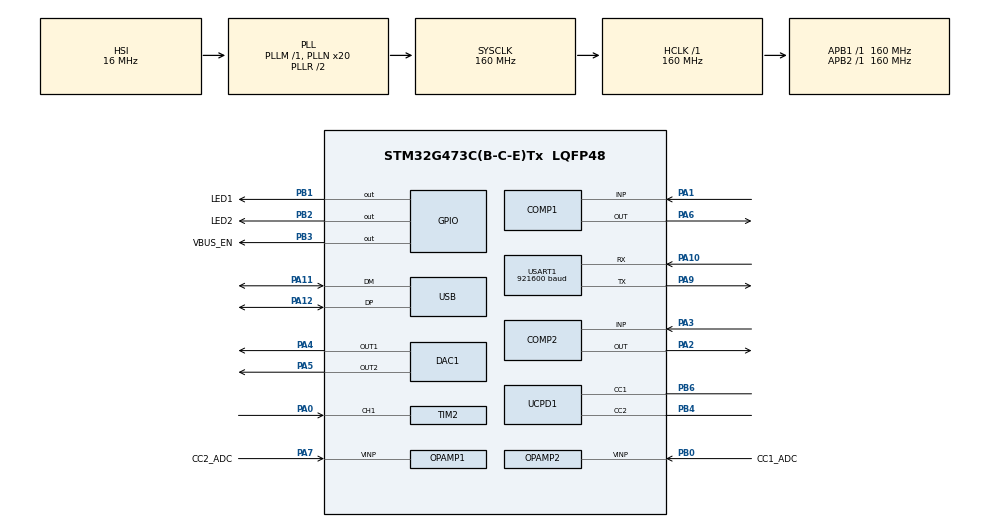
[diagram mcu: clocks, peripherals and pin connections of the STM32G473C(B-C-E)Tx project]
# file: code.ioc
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ADC1.Channel-5\#ChannelRegularConversion=ADC_CHANNEL_VOPAMP1
ADC1.ContinuousConvMode=ENABLE
ADC1.DMAContinuousRequests=ENABLE
ADC1.NbrOfConversionFlag=1
ADC1.OffsetNumber-5\#ChannelRegularConversion=ADC_OFFSET_NONE
ADC1.Rank-5\#ChannelRegularConversion=1
ADC1.SamplingTime-5\#ChannelRegularConversion=ADC_SAMPLETIME_12CYCLES_5
ADC1.master=1
ADC2.Channel-2\#ChannelRegularConversion=ADC_CHANNEL_VOPAMP2
ADC2.ClockPrescaler=ADC_CLOCK_SYNC_PCLK_DIV4
ADC2.ContinuousConvMode=ENABLE
ADC2.DMAContinuousRequests=ENABLE
ADC2.NbrOfConversionFlag=1
ADC2.OffsetNumber-2\#ChannelRegularConversion=ADC_OFFSET_NONE
ADC2.Rank-2\#ChannelRegularConversion=1
ADC2.SamplingTime-2\#ChannelRegularConversion=ADC_SAMPLETIME_12CYCLES_5
COMP1.BlankingSrce=COMP_BLANKINGSRC_NONE
COMP1.OutputPol=COMP_OUTPUTPOL_NONINVERTED
COMP1.TriggerMode=COMP_TRIGGERMODE_IT_FALLING
COMP2.TriggerMode=COMP_TRIGGERMODE_IT_FALLING
DAC1.DAC_Channel-DAC_OUT2_ExtAndInt=DAC_CHANNEL_2
Dma.ADC1.1.Direction=DMA_PERIPH_TO_MEMORY
Dma.ADC1.1.EventEnable=DISABLE
Dma.ADC1.1.Instance=DMA1_Channel1
Dma.ADC1.1.MemDataAlignment=DMA_MDATAALIGN_HALFWORD
Dma.ADC1.1.MemInc=DMA_MINC_ENABLE
Dma.ADC1.1.Mode=DMA_CIRCULAR
Dma.ADC1.1.PeriphDataAlignment=DMA_PDATAALIGN_HALFWORD
Dma.ADC1.1.PeriphInc=DMA_PINC_DISABLE
Dma.ADC1.1.Polarity=HAL_DMAMUX_REQ_GEN_RISING
Dma.ADC1.1.Priority=DMA_PRIORITY_LOW
Dma.ADC1.1.RequestNumber=1
Dma.ADC1.1.SignalID=NONE
Dma.ADC1.1.SyncEnable=DISABLE
Dma.ADC1.1.SyncPolarity=HAL_DMAMUX_SYNC_NO_EVENT
Dma.ADC1.1.SyncRequestNumber=1
Dma.ADC1.1.SyncSignalID=NONE
Dma.ADC2.2.Direction=DMA_PERIPH_TO_MEMORY
Dma.ADC2.2.EventEnable=DISABLE
Dma.ADC2.2.Instance=DMA1_Channel3
Dma.ADC2.2.MemDataAlignment=DMA_MDATAALIGN_HALFWORD
Dma.ADC2.2.MemInc=DMA_MINC_ENABLE
Dma.ADC2.2.Mode=DMA_CIRCULAR
Dma.ADC2.2.PeriphDataAlignment=DMA_PDATAALIGN_HALFWORD
Dma.ADC2.2.PeriphInc=DMA_PINC_DISABLE
Dma.ADC2.2.Polarity=HAL_DMAMUX_REQ_GEN_RISING
Dma.ADC2.2.Priority=DMA_PRIORITY_LOW
Dma.ADC2.2.RequestNumber=1
Dma.ADC2.2.SignalID=NONE
Dma.ADC2.2.SyncEnable=DISABLE
Dma.ADC2.2.SyncPolarity=HAL_DMAMUX_SYNC_NO_EVENT
Dma.ADC2.2.SyncRequestNumber=1
Dma.ADC2.2.SyncSignalID=NONE
Dma.Request0=TIM2_CH1
Dma.Request1=ADC1
Dma.Request2=ADC2
Dma.TIM2_CH1.0.Direction=DMA_PERIPH_TO_MEMORY
Dma.TIM2_CH1.0.EventEnable=DISABLE
Dma.TIM2_CH1.0.Instance=DMA1_Channel2
Dma.TIM2_CH1.0.MemDataAlignment=DMA_MDATAALIGN_BYTE
Dma.TIM2_CH1.0.MemInc=DMA_MINC_ENABLE
Dma.TIM2_CH1.0.Mode=DMA_NORMAL
Dma.TIM2_CH1.0.PeriphDataAlignment=DMA_PDATAALIGN_BYTE
Dma.TIM2_CH1.0.PeriphInc=DMA_PINC_DISABLE
Dma.TIM2_CH1.0.Polarity=HAL_DMAMUX_REQ_GEN_RISING
Dma.TIM2_CH1.0.Priority=DMA_PRIORITY_HIGH
Dma.TIM2_CH1.0.RequestNumber=1
Dma.TIM2_CH1.0.SignalID=NONE
Dma.TIM2_CH1.0.SyncEnable=DISABLE
Dma.TIM2_CH1.0.SyncPolarity=HAL_DMAMUX_SYNC_NO_EVENT
Dma.TIM2_CH1.0.SyncRequestNumber=1
Dma.TIM2_CH1.0.SyncSignalID=NONE
FREERTOS.Queues01=TimeIndexQueue,8,uint8_t,0,Dynamic,NULL,NULL
FREERTOS.Tasks01=LedTask,24,128,StartLedTask,Default,NULL,Dynamic,NULL,NULL;PDTask,32,4096,StartTaskPD,Default,NULL,Dynamic,NULL,NULL;CCTask,33,256,StartTaskCC,Default,NULL,Dynamic,NULL,NULL
FREERTOS.configCHECK_FOR_STACK_OVERFLOW=2
FREERTOS.configTOTAL_HEAP_SIZE=20480
FREERTOS.configUSE_MALLOC_FAILED_HOOK=1
Mcu.Family=STM32G4
Mcu.Name=STM32G473C(B-C-E)Tx
Mcu.Package=LQFP48
NVIC.COMP1_2_3_IRQn=true\:5\:0\:false\:false\:true\:true\:false\:true\:true
NVIC.PriorityGroup=NVIC_PRIORITYGROUP_4
NVIC.TIM2_IRQn=true\:5\:0\:false\:false\:true\:true\:true\:true\:true
NVIC.TIM6_DAC_IRQn=true\:15\:0\:false\:false\:true\:false\:false\:true\:true
NVIC.TimeBase=TIM6_DAC_IRQn
NVIC.TimeBaseIP=TIM6
NVIC.USB_LP_IRQn=true\:5\:0\:false\:false\:true\:true\:true\:true\:true
PA0.Signal=S_TIM2_CH1
PA1.Mode=INP
PA1.Signal=COMP1_INP
PA10.Mode=Asynchronous
PA10.Signal=USART1_RX
PA11.Mode=Device
PA11.Signal=USB_DM
PA12.Mode=Device
PA12.Signal=USB_DP
PA13.Mode=Serial_Wire
PA13.Signal=SYS_JTMS-SWDIO
PA14.Mode=Serial_Wire
PA14.Signal=SYS_JTCK-SWCLK
PA2.Mode=ExternalOutput
PA2.Signal=COMP2_OUT
PA3.Mode=INP
PA3.Signal=COMP2_INP
PA4.Signal=COMP_DAC11_group
PA5.Signal=COMP_DAC12_group
PA6.Mode=ExternalOutput
PA6.Signal=COMP1_OUT
PA7.GPIO_Label=CC2_ADC
PA7.Signal=SharedAnalog_PA7
PA9.Mode=Asynchronous
PA9.Signal=USART1_TX
PB0.GPIO_Label=CC1_ADC
PB0.Signal=SharedAnalog_PB0
PB1.GPIO_Label=LED1
PB1.PinState=GPIO_PIN_SET
PB1.Signal=GPIO_Output
PB2.GPIO_Label=LED2
PB2.PinState=GPIO_PIN_SET
PB2.Signal=GPIO_Output
PB3.GPIO_Label=VBUS_EN
PB3.Signal=GPIO_Output
PB4.Mode=Dual_Role_AllSignals
PB4.Signal=UCPD1_CC2
PB6.Mode=Dual_Role_AllSignals
PB6.Signal=UCPD1_CC1
ProjectManager.HeapSize=0x200
ProjectManager.StackSize=0x400
ProjectManager.TargetToolchain=MDK-ARM V5.32
RCC.ADC12Freq_Value=160000000
RCC.ADC345Freq_Value=160000000
RCC.AHBFreq_Value=160000000
RCC.APB1Freq_Value=160000000
RCC.APB1TimFreq_Value=160000000
RCC.APB2Freq_Value=160000000
RCC.APB2TimFreq_Value=160000000
RCC.CK48CLockSelection=RCC_USBCLKSOURCE_HSI48
RCC.CortexFreq_Value=160000000
RCC.EXTERNAL_CLOCK_VALUE=12288000
RCC.HCLKFreq_Value=160000000
RCC.HSE_VALUE=8000000
RCC.HSI48_VALUE=48000000
RCC.HSI_VALUE=16000000
RCC.LSE_VALUE=32768
RCC.PLLN=20
RCC.PLLQ=RCC_PLLQ_DIV4
RCC.SYSCLKFreq_VALUE=160000000
RCC.SYSCLKSource=RCC_SYSCLKSOURCE_PLLCLK
RCC.USBFreq_Value=48000000
RCC.VCOOutputFreq_Value=320000000
SH.COMP_DAC11_group.0=DAC1_OUT1,DAC_OUT1_ExtAndInt
SH.COMP_DAC12_group.0=DAC1_OUT2,DAC_OUT2_ExtAndInt
SH.S_TIM2_CH1.0=TIM2_CH1,TriggerSource_TI1ED
SH.SharedAnalog_PA7.0=ADC2_IN4
SH.SharedAnalog_PA7.1=OPAMP1_VINP,Follower_Internally_Connected
SH.SharedAnalog_PB0.0=ADC1_IN15
SH.SharedAnalog_PB0.1=OPAMP2_VINP,Follower_Internally_Connected
TIM2.AutoReloadPreload=TIM_AUTORELOAD_PRELOAD_ENABLE
TIM2.Channel-Input_Capture1_from_TI1_REMAP_TIM2=TIM_CHANNEL_1
TIM2.ICFilter_CH1=1
TIM2.ICPolarity_CH1=TIM_INPUTCHANNELPOLARITY_BOTHEDGE
TIM2.PeriodNoDither=800
TIM2.Prescaler=8 - 1
USART1.BaudRate=921600
USART1.VirtualMode-Asynchronous=VM_ASYNC
VP_ADC1_OPAMP_INTERNAL1.Mode=IN-OPAMP1
VP_ADC2_OPAMP_INTERNAL2.Mode=IN-OPAMP2
VP_COMP1_VS_DAC1OUT1.Mode=INM_DAC1OUT1
VP_COMP2_VS_DAC1OUT2.Mode=INM_DAC1OUT2
VP_FREERTOS_VS_CMSIS_V2.Mode=CMSIS_V2
VP_SYS_VS_DBSignals.Mode=DisableDeadBatterySignals
VP_SYS_VS_tim6.Mode=TIM6
VP_TIM2_VS_ControllerModeReset.Mode=Reset Mode
VP_TIM2_VS_NoInput1.Mode=Input_Capture1_from_TI1_REMAP_TIM2
board=custom

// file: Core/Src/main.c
/* USER CODE BEGIN Header */
/**
  ******************************************************************************
  * @file           : main.c
  * @brief          : Main program body
  ******************************************************************************
  * @attention
  *
  * Copyright (c) 2025 STMicroelectronics.
  * All rights reserved.
  *
  * This software is licensed under terms that can be found in the LICENSE file
  * in the root directory of this software component.
  * If no LICENSE file comes with this software, it is provided AS-IS.
  *
  ******************************************************************************
  */
/* USER CODE END Header */
#include "main.h"
#include "cmsis_os.h"
#include "adc.h"
#include "comp.h"
#include "dac.h"
#include "dma.h"
#include "opamp.h"
#include "tim.h"
#include "usart.h"
#include "usb.h"
#include "gpio.h"

void SystemClock_Config(void);
void MX_FREERTOS_Init(void);

int main(void)
{

  /* MCU Configuration--------------------------------------------------------*/

  /* Reset of all peripherals, Initializes the Flash interface and the Systick. */
  HAL_Init();

  /* Configure the system clock */
  SystemClock_Config();

  /* Initialize all configured peripherals */
  MX_GPIO_Init();
  MX_DMA_Init();
  MX_ADC1_Init();
  MX_COMP1_Init();
  MX_COMP2_Init();
  MX_TIM2_Init();
  MX_USART1_UART_Init();
  //MX_USB_PCD_Init();
  MX_ADC2_Init();
  MX_DAC1_Init();
  MX_OPAMP1_Init();
  MX_OPAMP2_Init();
  /* USER CODE BEGIN 2 */
  extern void winusb_init(uint8_t busid, uintptr_t reg_base);
  winusb_init(0, USB_BASE);

  printf("**** start run code ****\r\n");
  /* USER CODE END 2 */

  /* Init scheduler */
  osKernelInitialize();

  /* Call init function for freertos objects (in cmsis_os2.c) */
  MX_FREERTOS_Init();

  /* Start scheduler */
  osKernelStart();

  /* We should never get here as control is now taken by the scheduler */

  /* Infinite loop */
  while (1)
  {

  }
}

void SystemClock_Config(void)
{
  RCC_OscInitTypeDef RCC_OscInitStruct = {0};
  RCC_ClkInitTypeDef RCC_ClkInitStruct = {0};

  /** Configure the main internal regulator output voltage
  */
  HAL_PWREx_ControlVoltageScaling(PWR_REGULATOR_VOLTAGE_SCALE1_BOOST);

  /** Initializes the RCC Oscillators according to the specified parameters
  * in the RCC_OscInitTypeDef structure.
  */
  RCC_OscInitStruct.OscillatorType = RCC_OSCILLATORTYPE_HSI|RCC_OSCILLATORTYPE_HSI48;
  RCC_OscInitStruct.HSIState = RCC_HSI_ON;
  RCC_OscInitStruct.HSICalibrationValue = RCC_HSICALIBRATION_DEFAULT;
  RCC_OscInitStruct.HSI48State = RCC_HSI48_ON;
  RCC_OscInitStruct.PLL.PLLState = RCC_PLL_ON;
  RCC_OscInitStruct.PLL.PLLSource = RCC_PLLSOURCE_HSI;
  RCC_OscInitStruct.PLL.PLLM = RCC_PLLM_DIV1;
  RCC_OscInitStruct.PLL.PLLN = 20;
  RCC_OscInitStruct.PLL.PLLP = RCC_PLLP_DIV2;
  RCC_OscInitStruct.PLL.PLLQ = RCC_PLLQ_DIV4;
  RCC_OscInitStruct.PLL.PLLR = RCC_PLLR_DIV2;
  if (HAL_RCC_OscConfig(&RCC_OscInitStruct) != HAL_OK)
  {
    Error_Handler();
  }

  /** Initializes the CPU, AHB and APB buses clocks
  */
  RCC_ClkInitStruct.ClockType = RCC_CLOCKTYPE_HCLK|RCC_CLOCKTYPE_SYSCLK
                              |RCC_CLOCKTYPE_PCLK1|RCC_CLOCKTYPE_PCLK2;
  RCC_ClkInitStruct.SYSCLKSource = RCC_SYSCLKSOURCE_PLLCLK;
  RCC_ClkInitStruct.AHBCLKDivider = RCC_SYSCLK_DIV1;
  RCC_ClkInitStruct.APB1CLKDivider = RCC_HCLK_DIV1;
  RCC_ClkInitStruct.APB2CLKDivider = RCC_HCLK_DIV1;

  if (HAL_RCC_ClockConfig(&RCC_ClkInitStruct, FLASH_LATENCY_4) != HAL_OK)
  {
    Error_Handler();
  }
}

/* USER CODE BEGIN 4 */
extern void timer2_timeout_handle(void);
/* USER CODE END 4 */

void HAL_TIM_PeriodElapsedCallback(TIM_HandleTypeDef *htim)
{
  if (htim->Instance == TIM6)
  {
    HAL_IncTick();
  }
  /* USER CODE BEGIN Callback 1 */
  if(htim->Instance == TIM2)
  {
    timer2_timeout_handle();
  }
  /* USER CODE END Callback 1 */
}

void Error_Handler(void)
{
  __disable_irq();
  while (1)
  {
  }
}

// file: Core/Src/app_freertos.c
/* USER CODE BEGIN Header */
/**
  ******************************************************************************
  * File Name          : app_freertos.c
  * Description        : Code for freertos applications
  ******************************************************************************
  * @attention
  *
  * Copyright (c) 2025 STMicroelectronics.
  * All rights reserved.
  *
  * This software is licensed under terms that can be found in the LICENSE file
  * in the root directory of this software component.
  * If no LICENSE file comes with this software, it is provided AS-IS.
  *
  ******************************************************************************
  */
/* USER CODE END Header */

#include "FreeRTOS.h"
#include "task.h"
#include "main.h"
#include "cmsis_os.h"

/* USER CODE BEGIN Includes */
#include <string.h>
#include "usart.h"
#include "adc.h"
#include "comp.h"
#include "tim.h"
#include "bmc_analyze.h"
/* USER CODE END Includes */

/* USER CODE BEGIN PTD */
#define CC_DEBOUNCE_ATTACH_TIME 100 // Debounce time in milliseconds
#define CC_DEBOUNCE_DETACH_TIME 10  // Debounce time in milliseconds
#define CC_MAX_ADC_VALUE 2500 // Maximum ADC value for CC detection
#define CC_MIN_ADC_VALUE 500  // Minimum ADC value for CC detection

enum cc_state{
    CC_IDLE,
    CC_ATTACH_WAIT,
    CC_ATTACH,
    CC_DETACH_WAIT,
    CC_DETACH,
} ;

typedef struct {
  uint8_t flag_cc_attach;
  uint16_t adc_cc; // ADC value for CC1
  uint32_t cc_debounce_time;
  enum cc_state state;
} cc_detect_t;

cc_detect_t cc_detect[2];
/* USER CODE END PTD */

/* Definitions for LedTask */
osThreadId_t LedTaskHandle;
const osThreadAttr_t LedTask_attributes = {
  .name = "LedTask",
  .priority = (osPriority_t) osPriorityNormal,
  .stack_size = 256 * 4
};
/* Definitions for PDTask */
osThreadId_t PDTaskHandle;
const osThreadAttr_t PDTask_attributes = {
  .name = "PDTask",
  .priority = (osPriority_t) osPriorityAboveNormal,
  .stack_size = 4096 * 4
};
/* Definitions for CCTask */
osThreadId_t CCTaskHandle;
const osThreadAttr_t CCTask_attributes = {
  .name = "CCTask",
  .priority = (osPriority_t) osPriorityAboveNormal1,
  .stack_size = 256 * 4
};
/* Definitions for TimeIndexQueue */
osMessageQueueId_t TimeIndexQueueHandle;
const osMessageQueueAttr_t TimeIndexQueue_attributes = {
  .name = "TimeIndexQueue"
};

/* USER CODE BEGIN FunctionPrototypes */
void handle_cc_attach(void);
void handle_cc_detach(void);
/* USER CODE END FunctionPrototypes */

void StartLedTask(void *argument);
void StartTaskPD(void *argument);
void StartTaskCC(void *argument);

void MX_FREERTOS_Init(void); /* (MISRA C 2004 rule 8.1) */

/* Hook prototypes */
void vApplicationStackOverflowHook(xTaskHandle xTask, signed char *pcTaskName);
void vApplicationMallocFailedHook(void);

/* USER CODE BEGIN 4 */
void vApplicationStackOverflowHook(xTaskHandle xTask, signed char *pcTaskName)
{
   /* Run time stack overflow checking is performed if
   configCHECK_FOR_STACK_OVERFLOW is defined to 1 or 2. This hook function is
   called if a stack overflow is detected. */

    printf(" Stack overflow detected in task: %s\r\n", pcTaskName);

    TaskStatus_t taskList[10];
    UBaseType_t taskCount = uxTaskGetSystemState(taskList, 10, NULL);

    for (int i = 0; i < taskCount; i++) {
        printf("Task: %s | Stack Free: %u\r\n",
               taskList[i].pcTaskName,
               taskList[i].usStackHighWaterMark);
    }

    taskDISABLE_INTERRUPTS();
    for(;;);
}
/* USER CODE END 4 */

/* USER CODE BEGIN 5 */
void vApplicationMallocFailedHook(void)
{
   /* vApplicationMallocFailedHook() will only be called if
   configUSE_MALLOC_FAILED_HOOK is set to 1 in FreeRTOSConfig.h. It is a hook
   function that will get called if a call to pvPortMalloc() fails.
   pvPortMalloc() is called internally by the kernel whenever a task, queue,
   timer or semaphore is created. It is also called by various parts of the
   demo application. If heap_1.c or heap_2.c are used, then the size of the
   heap available to pvPortMalloc() is defined by configTOTAL_HEAP_SIZE in
   FreeRTOSConfig.h, and the xPortGetFreeHeapSize() API function can be used
   to query the size of free heap space that remains (although it does not
   provide information on how the remaining heap might be fragmented). */
}
/* USER CODE END 5 */

void MX_FREERTOS_Init(void) {

  /* Create the queue(s) */
  /* creation of TimeIndexQueue */
  TimeIndexQueueHandle = osMessageQueueNew (8, sizeof(uint8_t), &TimeIndexQueue_attributes);

  /* Create the thread(s) */
  /* creation of LedTask */
  LedTaskHandle = osThreadNew(StartLedTask, NULL, &LedTask_attributes);

  /* creation of PDTask */
  PDTaskHandle = osThreadNew(StartTaskPD, NULL, &PDTask_attributes);

  /* creation of CCTask */
  CCTaskHandle = osThreadNew(StartTaskCC, NULL, &CCTask_attributes);

}

void StartLedTask(void *argument)
{
  /* USER CODE BEGIN StartLedTask */
    extern int usbd_cdc_write(const uint8_t *data, uint32_t data_len);
  /* Infinite loop */
  for(;;)
  {
    HAL_GPIO_WritePin(GPIOB, LED1_Pin, GPIO_PIN_RESET);
    osDelay(500); // Delay for 500 ms
    HAL_GPIO_WritePin(GPIOB, LED1_Pin, GPIO_PIN_SET);
    osDelay(500); // Delay for 500 ms

    TaskStatus_t taskList[10];
    UBaseType_t taskCount = uxTaskGetSystemState(taskList, 10, NULL);

//    for (int i = 0; i < taskCount; i++) {
//        printf("Task: %s | Stack Free: %u\r\n",
//               taskList[i].pcTaskName,
//               taskList[i].usStackHighWaterMark);
//    }
//    printf("\r\n");
  }
  /* USER CODE END StartLedTask */
}

void StartTaskPD(void *argument)
{
  /* USER CODE BEGIN StartTaskPD */

  uint8_t buffer_index;
  /* Infinite loop */
  for(;;)
  {
    osMessageQueueGet(TimeIndexQueueHandle, &buffer_index, NULL, portMAX_DELAY);

    uint8_t data_time[MAX_BUFFER_LEN];
    /* last data is invalid */
    uint16_t data_time_len = time2_data_len[buffer_index] - 2;
    if(data_time_len <= MAX_BUFFER_LEN)
    {
      memcpy(data_time, &time2_data_buffer[buffer_index][1], data_time_len);
      decode_bmc(buffer_index, data_time, data_time_len);
    }

//    if(buffer_index == MAX_BUFFER_INDEX - 1)
//    {
//        while(1);
//    }

    // printf("\r\n");
    // for(uint16_t i = 0; i < data_time_len; i++)
    // {
    //   printf("%d ", data_time[i]);
    // }
    // printf("\r\n");

  }
  /* USER CODE END StartTaskPD */
}

void StartTaskCC(void *argument)
{
  /* USER CODE BEGIN StartTaskCC */
  memset(cc_detect, 0, sizeof(cc_detect));

  /* Infinite loop */
  for(;;)
  {
    cc_detect[0].adc_cc = adc2_value * 2 * 3300 / 4096; // Convert ADC value to mV
    cc_detect[1].adc_cc = adc1_value * 2 * 3300 / 4096; // Convert ADC value to mV

    //printf(" %d  %d \r\n", cc_detect[0].adc_cc, cc_detect[1].adc_cc);
    for(uint8_t index = 0; index < 2; index++){

      switch(cc_detect[index].state)
      {
        case CC_IDLE:
        {
          cc_detect[index].flag_cc_attach = 0;
          if ((cc_detect[index].adc_cc <= CC_MAX_ADC_VALUE) && (cc_detect[index].adc_cc >= CC_MIN_ADC_VALUE)) {
            cc_detect[index].state = CC_ATTACH_WAIT;
            cc_detect[index].cc_debounce_time = osKernelGetTickCount();
          }
          break;
        }

        case CC_ATTACH_WAIT:
        {
          if ((cc_detect[index].adc_cc < CC_MIN_ADC_VALUE) || (cc_detect[index].adc_cc > CC_MAX_ADC_VALUE)) {
            cc_detect[index].state = CC_IDLE; // Back to idle if ADC is above threshold
          } else if ((osKernelGetTickCount() - cc_detect[index].cc_debounce_time) >= CC_DEBOUNCE_ATTACH_TIME) {
            cc_detect[index].flag_cc_attach = 1; // Set attach flag
            handle_cc_attach();
            cc_detect[index].state = CC_ATTACH; // Transition to attach state after debounce
          }
          break;
        }

        case CC_ATTACH:
        {
          if ((cc_detect[index].adc_cc < CC_MIN_ADC_VALUE) || (cc_detect[index].adc_cc > CC_MAX_ADC_VALUE)) {
            cc_detect[index].state = CC_DETACH_WAIT; // Transition to detach wait state
            cc_detect[index].cc_debounce_time = osKernelGetTickCount();
          }
          break;
        }

        case  CC_DETACH_WAIT:
        {
          if ((cc_detect[index].adc_cc <= CC_MAX_ADC_VALUE) && (cc_detect[index].adc_cc >= CC_MIN_ADC_VALUE)) {
            cc_detect[index].state = CC_ATTACH; // Back to attach state if ADC is above threshold
          } else if ((osKernelGetTickCount() - cc_detect[index].cc_debounce_time) >= CC_DEBOUNCE_DETACH_TIME) {
            cc_detect[index].flag_cc_attach = 0; // Set attach flag
            handle_cc_detach();
            cc_detect[index].state = CC_DETACH; // Transition to detach state after debounce
          }
          break;
        }

        case CC_DETACH:
        {
          cc_detect[index].state = CC_IDLE; // Back to idle if ADC is below threshold
          break;
        }

        default:
        {
          cc_detect[index].state = CC_IDLE; // Reset to idle state if an unknown state is encountered
          break;
        }
      }
    }

    osDelay(5);
  }
  /* USER CODE END StartTaskCC */
}

/* USER CODE BEGIN Application */

void HAL_COMP_TriggerCallback(COMP_HandleTypeDef *hcomp)
{
  LL_EXTI_DisableFallingTrig_0_31(LL_EXTI_LINE_21 | LL_EXTI_LINE_22);

  /* open timeout event */
  __HAL_TIM_CLEAR_FLAG(&htim2, TIM_FLAG_UPDATE);
  __HAL_TIM_ENABLE_IT(&htim2,  TIM_IT_UPDATE);
  __HAL_TIM_ENABLE_IT(&htim2,  TIM_IT_UPDATE);
  __HAL_TIM_ENABLE_IT(&htim2,  TIM_IT_UPDATE);
}

void timer2_timeout_handle(void)
{
  /* close update interrupt */
  __HAL_TIM_DISABLE_IT(&htim2, TIM_IT_UPDATE);

  /* open cc interrupt */
  LL_EXTI_ClearFlag_0_31(LL_EXTI_LINE_21 | LL_EXTI_LINE_22);
  LL_EXTI_EnableFallingTrig_0_31(LL_EXTI_LINE_21 | LL_EXTI_LINE_22);

  /* data len */
  uint16_t transferred = MAX_BUFFER_LEN - __HAL_DMA_GET_COUNTER(htim2.hdma[TIM_DMA_ID_CC1]);
  time2_data_len[buffer_index] = transferred;
  time_data_systick[buffer_index] = osKernelGetTickCount();

  /* handle data */
  /* Send buffer index to message queue */
  osMessageQueuePut(TimeIndexQueueHandle, (uint8_t *)&buffer_index, 0, 0);

  /* start next buffer */
  buffer_index++;
  if(buffer_index >= MAX_BUFFER_INDEX)
  {
    buffer_index = 0;
  }

  HAL_TIM_IC_Stop_DMA(&htim2, TIM_CHANNEL_1);
  /* start DMA channel */
  HAL_TIM_IC_Start_DMA(&htim2, TIM_CHANNEL_1, (uint32_t*)time2_data_buffer[buffer_index], MAX_BUFFER_LEN);
}

void handle_cc_attach(void)
{

  if(cc_detect[0].flag_cc_attach == 1 && cc_detect[1].flag_cc_attach == 0)
  {
//    DEBUG_PRINT("handle_cc_attach 1\r\n");
    /* change to comp1 */
    HAL_TIMEx_TISelection(&htim2, TIM_TIM2_TI1_COMP1, TIM_CHANNEL_1);

    /* open comp interrupt */
    HAL_COMP_Start(&hcomp1);

    LL_EXTI_ClearFlag_0_31(LL_EXTI_LINE_21 | LL_EXTI_LINE_22);
    LL_EXTI_EnableFallingTrig_0_31(LL_EXTI_LINE_21 | LL_EXTI_LINE_22);

    /* start DMA channel */
    HAL_TIM_IC_Start_DMA(&htim2, TIM_CHANNEL_1, (uint32_t*)time2_data_buffer[buffer_index], MAX_BUFFER_LEN);

  }
  else if(cc_detect[1].flag_cc_attach == 1 && cc_detect[0].flag_cc_attach == 0)
  {
//    DEBUG_PRINT("handle_cc_attach 2\r\n");
    /* change to comp2 */
    HAL_TIMEx_TISelection(&htim2, TIM_TIM2_TI1_COMP2, TIM_CHANNEL_1);

    /* open cc interrupt */
    HAL_COMP_Start(&hcomp2);

    LL_EXTI_ClearFlag_0_31(LL_EXTI_LINE_21 | LL_EXTI_LINE_22);
    LL_EXTI_EnableFallingTrig_0_31(LL_EXTI_LINE_21 | LL_EXTI_LINE_22);

    /* start DMA channel */
    HAL_TIM_IC_Start_DMA(&htim2, TIM_CHANNEL_1, (uint32_t*)time2_data_buffer[buffer_index], MAX_BUFFER_LEN);

  }
}

void handle_cc_detach(void)
{
//  DEBUG_PRINT("handle_cc_detach\r\n");
  if(cc_detect[0].flag_cc_attach == 0 && cc_detect[1].flag_cc_attach == 0)
  {

    HAL_COMP_Stop(&hcomp1);
    HAL_COMP_Stop(&hcomp2);

    LL_EXTI_DisableFallingTrig_0_31(LL_EXTI_LINE_21 | LL_EXTI_LINE_22);
    __HAL_TIM_DISABLE_IT(&htim2, TIM_IT_UPDATE);

    HAL_TIM_IC_Stop_DMA(&htim2, TIM_CHANNEL_1);
  }
}

/* USER CODE END Application */
